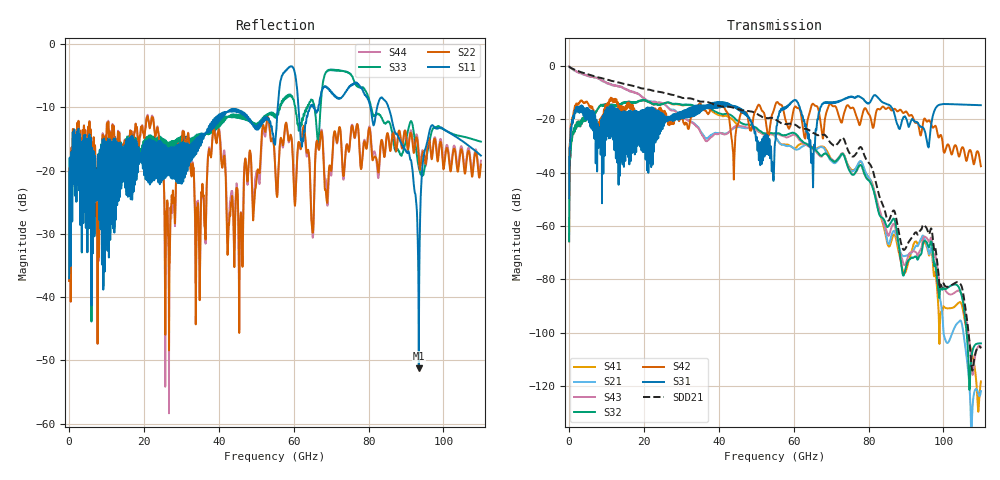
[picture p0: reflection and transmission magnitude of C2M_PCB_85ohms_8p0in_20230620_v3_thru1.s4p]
! Info: Touchstone file created by Circ.  Input file=C2M_PCB_85ohms_8p0in_20230620_v3.circ
# Hz S RI R 50
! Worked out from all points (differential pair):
!   11000 points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, 10 MHz to 110 GHz, reference 50 ohm
!   strongest paths, dB at 10 MHz, 27.51 GHz, 55.01 GHz, 82.51 GHz, 110 GHz:
!     S31: -49.5, -20.5, -28.6, -11.9, -14.7
!     S42: -49.4, -21.6, -15.0, -16.1, -37.6
!     S32: -65.7, -14.1, -25.2, -53.9, -103.9
!     S43: -0.1, -16.7, -25.6, -51.9, -105.2
!     S21: -0.1, -16.4, -26.3, -53.6, -121.8
!     S41: -65.7, -14.3, -26.4, -52.7, -118.2
!   taken as a pair (ports 3,1 in; 4,2 out), SDD21 dB: -0.1, -10.8, -19.9, -47.0, -105.8
!   lowest |S11| = -51.2 dB at 93.42 GHz (marker M1), VSWR 1.01, Z = 49.7 + j0.0433 ohm
!   |S11| at or under -10 dB: start of sweep to 55.74 GHz; 61.31 GHz to 64.27 GHz (2.951 GHz wide, 4.7 % of centre); 85.31 GHz to end of sweep (the widest 3 of 6)
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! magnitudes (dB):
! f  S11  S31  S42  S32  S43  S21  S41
! 10 MHz  -37.0  -49.5  -49.4  -65.7  -0.1  -0.1  -65.7
! 8.36 GHz  -25.0  -24.7  -21.5  -14.9  -5.1  -5.1  -14.9
! 36.26 GHz  -14.4  -14.8  -16.5  -14.9  -27.7  -26.8  -15.3
! 54.26 GHz  -13.9  -36.2  -18.1  -25.2  -25.6  -25.5  -25.7
! 73.09 GHz  -8.2  -12.7  -19.9  -32.9  -32.7  -33.0  -32.8
! 93.42 GHz  -51.2  -22.1  -22.9  -71.6  -70.2  -66.7  -66.4
! 110 GHz  -17.6  -14.7  -37.6  -103.9  -105.2  -121.8  -118.2
